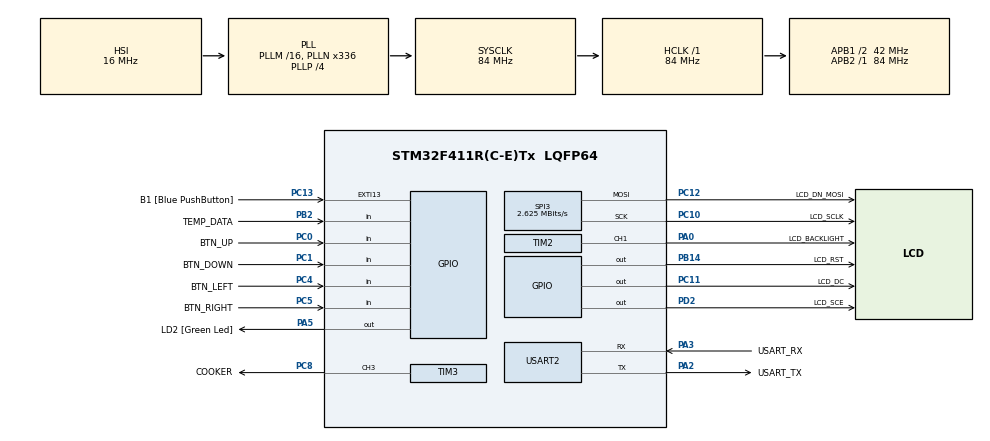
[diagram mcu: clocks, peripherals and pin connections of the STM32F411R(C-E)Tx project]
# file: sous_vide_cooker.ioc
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Mcu.Family=STM32F4
Mcu.Name=STM32F411R(C-E)Tx
Mcu.Package=LQFP64
NVIC.EXTI15_10_IRQn=true\:0\:0\:false\:false\:true\:true\:true
NVIC.PriorityGroup=NVIC_PRIORITYGROUP_0
NVIC.TIM1_TRG_COM_TIM11_IRQn=true\:0\:0\:false\:false\:true\:true\:true
PA0-WKUP.GPIO_Label=LCD_BACKLIGHT
PA0-WKUP.Signal=S_TIM2_CH1_ETR
PA13.GPIO_Label=TMS
PA13.Mode=Serial_Wire
PA13.Signal=SYS_JTMS-SWDIO
PA14.GPIO_Label=TCK
PA14.Mode=Serial_Wire
PA14.Signal=SYS_JTCK-SWCLK
PA2.GPIO_Label=USART_TX
PA2.Mode=Asynchronous
PA2.Signal=USART2_TX
PA3.GPIO_Label=USART_RX
PA3.Mode=Asynchronous
PA3.Signal=USART2_RX
PA5.GPIO_Label=LD2 [Green Led]
PA5.Signal=GPIO_Output
PB14.GPIO_Label=LCD_RST
PB14.Signal=GPIO_Output
PB2.GPIO_Label=TEMP_DATA
PB2.Signal=GPIO_Input
PB3.GPIO_Label=SWO
PB3.Signal=SYS_JTDO-SWO
PC0.GPIO_Label=BTN_UP
PC0.GPIO_PuPd=GPIO_PULLUP
PC0.Signal=GPIO_Input
PC1.GPIO_Label=BTN_DOWN
PC1.GPIO_PuPd=GPIO_PULLUP
PC1.Signal=GPIO_Input
PC10.GPIO_Label=LCD_SCLK
PC10.Mode=TX_Only_Simplex_Unidirect_Master
PC10.Signal=SPI3_SCK
PC11.GPIO_Label=LCD_DC
PC11.Signal=GPIO_Output
PC12.GPIO_Label=LCD_DN_MOSI
PC12.Mode=TX_Only_Simplex_Unidirect_Master
PC12.Signal=SPI3_MOSI
PC13-ANTI_TAMP.GPIO_Label=B1 [Blue PushButton]
PC13-ANTI_TAMP.GPIO_ModeDefaultEXTI=GPIO_MODE_IT_FALLING
PC13-ANTI_TAMP.Signal=GPXTI13
PC14-OSC32_IN.Mode=LSE-External-Oscillator
PC14-OSC32_IN.Signal=RCC_OSC32_IN
PC15-OSC32_OUT.Mode=LSE-External-Oscillator
PC15-OSC32_OUT.Signal=RCC_OSC32_OUT
PC4.GPIO_Label=BTN_LEFT
PC4.GPIO_PuPd=GPIO_PULLUP
PC4.Signal=GPIO_Input
PC5.GPIO_Label=BTN_RIGHT
PC5.GPIO_PuPd=GPIO_PULLUP
PC5.Signal=GPIO_Input
PC8.GPIO_Label=COOKER
PC8.Signal=S_TIM3_CH3
PD2.GPIO_Label=LCD_SCE
PD2.Signal=GPIO_Output
PH0\ -\ OSC_IN.Mode=HSE-External-Clock-Source
PH0\ -\ OSC_IN.Signal=RCC_OSC_IN
PH1\ -\ OSC_OUT.Mode=HSE-External-Clock-Source
PH1\ -\ OSC_OUT.Signal=RCC_OSC_OUT
ProjectManager.HeapSize=0x200
ProjectManager.StackSize=0x400
ProjectManager.TargetToolchain=STM32CubeIDE
RCC.48MHZClocksFreq_Value=84000000
RCC.AHBFreq_Value=84000000
RCC.APB1CLKDivider=RCC_HCLK_DIV2
RCC.APB1Freq_Value=42000000
RCC.APB1TimFreq_Value=84000000
RCC.APB2Freq_Value=84000000
RCC.APB2TimFreq_Value=84000000
RCC.CortexFreq_Value=84000000
RCC.FLatency-AdvancedSettings=FLASH_LATENCY_2
RCC.HCLKFreq_Value=84000000
RCC.HSE_VALUE=8000000
RCC.HSI_VALUE=16000000
RCC.PLLN=336
RCC.PLLP=RCC_PLLP_DIV4
RCC.SYSCLKFreq_VALUE=84000000
RCC.SYSCLKSource=RCC_SYSCLKSOURCE_PLLCLK
RCC.VCOOutputFreq_Value=336000000
SH.S_TIM2_CH1_ETR.0=TIM2_CH1,PWM Generation1 CH1
SH.S_TIM3_CH3.0=TIM3_CH3,PWM Generation3 CH3
SPI3.BaudRatePrescaler=SPI_BAUDRATEPRESCALER_16
SPI3.CalculateBaudRate=2.625 MBits/s
SPI3.Direction=SPI_DIRECTION_2LINES
SPI3.Mode=SPI_MODE_MASTER
SPI3.VirtualType=VM_MASTER
TIM10.Period=0xffff-1
TIM10.Prescaler=84 -1
TIM11.AutoReloadPreload=TIM_AUTORELOAD_PRELOAD_ENABLE
TIM11.Period=2-1
TIM11.Prescaler=42000-1
TIM2.AutoReloadPreload=TIM_AUTORELOAD_PRELOAD_ENABLE
TIM2.Channel-PWM\ Generation1\ CH1=TIM_CHANNEL_1
TIM2.OCPolarity_1=TIM_OCPOLARITY_LOW
TIM2.Period=1000 -1
TIM2.Prescaler=42000 - 1
TIM2.Pulse-PWM\ Generation1\ CH1=1000 - 1
TIM3.AutoReloadPreload=TIM_AUTORELOAD_PRELOAD_ENABLE
TIM3.Channel-PWM\ Generation3\ CH3=TIM_CHANNEL_3
TIM3.OCPolarity_3=TIM_OCPOLARITY_HIGH
TIM3.Period=10000 - 1
TIM3.Prescaler=42000-1
TIM3.Pulse-PWM\ Generation3\ CH3=2500 - 1
USART2.VirtualMode=VM_ASYNC
VP_TIM10_VS_ClockSourceINT.Mode=Enable_Timer
VP_TIM11_VS_ClockSourceINT.Mode=Enable_Timer
VP_TIM3_VS_ClockSourceINT.Mode=Internal
board=NUCLEO-F411RE

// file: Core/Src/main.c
/* USER CODE BEGIN Header */
/**
  ******************************************************************************
  * @file           : main.c
  * @brief          : Main program body
  ******************************************************************************
  * @attention
  *
  * Copyright (c) 2022 STMicroelectronics.
  * All rights reserved.
  *
  * This software is licensed under terms that can be found in the LICENSE file
  * in the root directory of this software component.
  * If no LICENSE file comes with this software, it is provided AS-IS.
  *
  ******************************************************************************
  */
/* USER CODE END Header */
#include "main.h"

/* USER CODE BEGIN Includes */
#include "appmain.h"
#include <stdio.h>
#include <stdbool.h>
/* USER CODE END Includes */

SPI_HandleTypeDef hspi3;

TIM_HandleTypeDef htim2;
TIM_HandleTypeDef htim3;
TIM_HandleTypeDef htim10;
TIM_HandleTypeDef htim11;

UART_HandleTypeDef huart2;

void SystemClock_Config(void);
static void MX_GPIO_Init(void);
static void MX_USART2_UART_Init(void);
static void MX_TIM3_Init(void);
static void MX_SPI3_Init(void);
static void MX_TIM10_Init(void);
static void MX_TIM11_Init(void);
static void MX_TIM2_Init(void);
/* USER CODE BEGIN PFP */

void ReInit_PWM_CookerPin()
{
#define COMPLETE_INIT 0

#if COMPLETE_INIT
	MX_TIM3_Init();

#else
	  TIM_MasterConfigTypeDef sMasterConfig = {0};
	  TIM_OC_InitTypeDef sConfigOC = {0};

	  if (HAL_TIM_PWM_Init(&htim3) != HAL_OK)
	  {
	    Error_Handler();
	  }

	  sMasterConfig.MasterOutputTrigger = TIM_TRGO_RESET;
	  sMasterConfig.MasterSlaveMode = TIM_MASTERSLAVEMODE_DISABLE;
	  if (HAL_TIMEx_MasterConfigSynchronization(&htim3, &sMasterConfig) != HAL_OK)
	  {
	    Error_Handler();
	  }

	  sConfigOC.OCMode = TIM_OCMODE_PWM1;
	  sConfigOC.Pulse = 200 - 1;
	  sConfigOC.OCPolarity = TIM_OCPOLARITY_HIGH;
	  sConfigOC.OCFastMode = TIM_OCFAST_DISABLE;
	  if (HAL_TIM_PWM_ConfigChannel(&htim3, &sConfigOC, TIM_CHANNEL_3) != HAL_OK)
	  {
	    Error_Handler();
	  }

	  HAL_TIM_MspPostInit(&htim3);
#endif
}

/* USER CODE END PFP */

/* USER CODE BEGIN 0 */

const bool serial_console = true;

int _write(int file, char *ptr, int len)
{
	if (serial_console)
		HAL_UART_Transmit(&huart2, (uint8_t*)ptr, len, HAL_MAX_DELAY);
	return len;
}

// TODO
//int _read(int file, char *ptr, int len)

/* USER CODE END 0 */

int main(void)
{

  /* MCU Configuration--------------------------------------------------------*/

  /* Reset of all peripherals, Initializes the Flash interface and the Systick. */
  HAL_Init();

  /* Configure the system clock */
  SystemClock_Config();

  /* Initialize all configured peripherals */
  MX_GPIO_Init();
  MX_USART2_UART_Init();
  MX_TIM3_Init();
  MX_SPI3_Init();
  MX_TIM10_Init();
  MX_TIM11_Init();
  MX_TIM2_Init();
  /* USER CODE BEGIN 2 */
  appmain();
  /* USER CODE END 2 */

  /* Infinite loop */
  while (1)
  {

  }
}

void SystemClock_Config(void)
{
  RCC_OscInitTypeDef RCC_OscInitStruct = {0};
  RCC_ClkInitTypeDef RCC_ClkInitStruct = {0};

  /** Configure the main internal regulator output voltage
  */
  __HAL_RCC_PWR_CLK_ENABLE();
  __HAL_PWR_VOLTAGESCALING_CONFIG(PWR_REGULATOR_VOLTAGE_SCALE1);
  /** Initializes the RCC Oscillators according to the specified parameters
  * in the RCC_OscInitTypeDef structure.
  */
  RCC_OscInitStruct.OscillatorType = RCC_OSCILLATORTYPE_HSI;
  RCC_OscInitStruct.HSIState = RCC_HSI_ON;
  RCC_OscInitStruct.HSICalibrationValue = RCC_HSICALIBRATION_DEFAULT;
  RCC_OscInitStruct.PLL.PLLState = RCC_PLL_ON;
  RCC_OscInitStruct.PLL.PLLSource = RCC_PLLSOURCE_HSI;
  RCC_OscInitStruct.PLL.PLLM = 16;
  RCC_OscInitStruct.PLL.PLLN = 336;
  RCC_OscInitStruct.PLL.PLLP = RCC_PLLP_DIV4;
  RCC_OscInitStruct.PLL.PLLQ = 4;
  if (HAL_RCC_OscConfig(&RCC_OscInitStruct) != HAL_OK)
  {
    Error_Handler();
  }
  /** Initializes the CPU, AHB and APB buses clocks
  */
  RCC_ClkInitStruct.ClockType = RCC_CLOCKTYPE_HCLK|RCC_CLOCKTYPE_SYSCLK
                              |RCC_CLOCKTYPE_PCLK1|RCC_CLOCKTYPE_PCLK2;
  RCC_ClkInitStruct.SYSCLKSource = RCC_SYSCLKSOURCE_PLLCLK;
  RCC_ClkInitStruct.AHBCLKDivider = RCC_SYSCLK_DIV1;
  RCC_ClkInitStruct.APB1CLKDivider = RCC_HCLK_DIV2;
  RCC_ClkInitStruct.APB2CLKDivider = RCC_HCLK_DIV1;

  if (HAL_RCC_ClockConfig(&RCC_ClkInitStruct, FLASH_LATENCY_2) != HAL_OK)
  {
    Error_Handler();
  }
}

static void MX_SPI3_Init(void)
{

  /* SPI3 parameter configuration*/
  hspi3.Instance = SPI3;
  hspi3.Init.Mode = SPI_MODE_MASTER;
  hspi3.Init.Direction = SPI_DIRECTION_2LINES;
  hspi3.Init.DataSize = SPI_DATASIZE_8BIT;
  hspi3.Init.CLKPolarity = SPI_POLARITY_LOW;
  hspi3.Init.CLKPhase = SPI_PHASE_1EDGE;
  hspi3.Init.NSS = SPI_NSS_SOFT;
  hspi3.Init.BaudRatePrescaler = SPI_BAUDRATEPRESCALER_16;
  hspi3.Init.FirstBit = SPI_FIRSTBIT_MSB;
  hspi3.Init.TIMode = SPI_TIMODE_DISABLE;
  hspi3.Init.CRCCalculation = SPI_CRCCALCULATION_DISABLE;
  hspi3.Init.CRCPolynomial = 10;
  if (HAL_SPI_Init(&hspi3) != HAL_OK)
  {
    Error_Handler();
  }

}

static void MX_TIM2_Init(void)
{

  TIM_MasterConfigTypeDef sMasterConfig = {0};
  TIM_OC_InitTypeDef sConfigOC = {0};

  htim2.Instance = TIM2;
  htim2.Init.Prescaler = 42000 - 1;
  htim2.Init.CounterMode = TIM_COUNTERMODE_UP;
  htim2.Init.Period = 1000 -1;
  htim2.Init.ClockDivision = TIM_CLOCKDIVISION_DIV1;
  htim2.Init.AutoReloadPreload = TIM_AUTORELOAD_PRELOAD_ENABLE;
  if (HAL_TIM_PWM_Init(&htim2) != HAL_OK)
  {
    Error_Handler();
  }
  sMasterConfig.MasterOutputTrigger = TIM_TRGO_RESET;
  sMasterConfig.MasterSlaveMode = TIM_MASTERSLAVEMODE_DISABLE;
  if (HAL_TIMEx_MasterConfigSynchronization(&htim2, &sMasterConfig) != HAL_OK)
  {
    Error_Handler();
  }
  sConfigOC.OCMode = TIM_OCMODE_PWM1;
  sConfigOC.Pulse = 1000 - 1;
  sConfigOC.OCPolarity = TIM_OCPOLARITY_LOW;
  sConfigOC.OCFastMode = TIM_OCFAST_DISABLE;
  if (HAL_TIM_PWM_ConfigChannel(&htim2, &sConfigOC, TIM_CHANNEL_1) != HAL_OK)
  {
    Error_Handler();
  }
  HAL_TIM_MspPostInit(&htim2);

}

static void MX_TIM3_Init(void)
{

  TIM_ClockConfigTypeDef sClockSourceConfig = {0};
  TIM_MasterConfigTypeDef sMasterConfig = {0};
  TIM_OC_InitTypeDef sConfigOC = {0};

  htim3.Instance = TIM3;
  htim3.Init.Prescaler = 42000-1;
  htim3.Init.CounterMode = TIM_COUNTERMODE_UP;
  htim3.Init.Period = 10000 - 1;
  htim3.Init.ClockDivision = TIM_CLOCKDIVISION_DIV1;
  htim3.Init.AutoReloadPreload = TIM_AUTORELOAD_PRELOAD_ENABLE;
  if (HAL_TIM_Base_Init(&htim3) != HAL_OK)
  {
    Error_Handler();
  }
  sClockSourceConfig.ClockSource = TIM_CLOCKSOURCE_INTERNAL;
  if (HAL_TIM_ConfigClockSource(&htim3, &sClockSourceConfig) != HAL_OK)
  {
    Error_Handler();
  }
  if (HAL_TIM_PWM_Init(&htim3) != HAL_OK)
  {
    Error_Handler();
  }
  sMasterConfig.MasterOutputTrigger = TIM_TRGO_RESET;
  sMasterConfig.MasterSlaveMode = TIM_MASTERSLAVEMODE_DISABLE;
  if (HAL_TIMEx_MasterConfigSynchronization(&htim3, &sMasterConfig) != HAL_OK)
  {
    Error_Handler();
  }
  sConfigOC.OCMode = TIM_OCMODE_PWM1;
  sConfigOC.Pulse = 2500 - 1;
  sConfigOC.OCPolarity = TIM_OCPOLARITY_HIGH;
  sConfigOC.OCFastMode = TIM_OCFAST_DISABLE;
  if (HAL_TIM_PWM_ConfigChannel(&htim3, &sConfigOC, TIM_CHANNEL_3) != HAL_OK)
  {
    Error_Handler();
  }
  HAL_TIM_MspPostInit(&htim3);

}

static void MX_TIM10_Init(void)
{

  htim10.Instance = TIM10;
  htim10.Init.Prescaler = 84 -1;
  htim10.Init.CounterMode = TIM_COUNTERMODE_UP;
  htim10.Init.Period = 0xffff-1;
  htim10.Init.ClockDivision = TIM_CLOCKDIVISION_DIV1;
  htim10.Init.AutoReloadPreload = TIM_AUTORELOAD_PRELOAD_DISABLE;
  if (HAL_TIM_Base_Init(&htim10) != HAL_OK)
  {
    Error_Handler();
  }

}

static void MX_TIM11_Init(void)
{

  htim11.Instance = TIM11;
  htim11.Init.Prescaler = 42000-1;
  htim11.Init.CounterMode = TIM_COUNTERMODE_UP;
  htim11.Init.Period = 2-1;
  htim11.Init.ClockDivision = TIM_CLOCKDIVISION_DIV1;
  htim11.Init.AutoReloadPreload = TIM_AUTORELOAD_PRELOAD_ENABLE;
  if (HAL_TIM_Base_Init(&htim11) != HAL_OK)
  {
    Error_Handler();
  }

}

static void MX_USART2_UART_Init(void)
{

  huart2.Instance = USART2;
  huart2.Init.BaudRate = 115200;
  huart2.Init.WordLength = UART_WORDLENGTH_8B;
  huart2.Init.StopBits = UART_STOPBITS_1;
  huart2.Init.Parity = UART_PARITY_NONE;
  huart2.Init.Mode = UART_MODE_TX_RX;
  huart2.Init.HwFlowCtl = UART_HWCONTROL_NONE;
  huart2.Init.OverSampling = UART_OVERSAMPLING_16;
  if (HAL_UART_Init(&huart2) != HAL_OK)
  {
    Error_Handler();
  }

}

static void MX_GPIO_Init(void)
{
  GPIO_InitTypeDef GPIO_InitStruct = {0};

  /* GPIO Ports Clock Enable */
  __HAL_RCC_GPIOC_CLK_ENABLE();
  __HAL_RCC_GPIOH_CLK_ENABLE();
  __HAL_RCC_GPIOA_CLK_ENABLE();
  __HAL_RCC_GPIOB_CLK_ENABLE();
  __HAL_RCC_GPIOD_CLK_ENABLE();

  /*Configure GPIO pin Output Level */
  HAL_GPIO_WritePin(LD2_GPIO_Port, LD2_Pin, GPIO_PIN_RESET);

  /*Configure GPIO pin Output Level */
  HAL_GPIO_WritePin(LCD_RST_GPIO_Port, LCD_RST_Pin, GPIO_PIN_RESET);

  /*Configure GPIO pin Output Level */
  HAL_GPIO_WritePin(LCD_DC_GPIO_Port, LCD_DC_Pin, GPIO_PIN_RESET);

  /*Configure GPIO pin Output Level */
  HAL_GPIO_WritePin(LCD_SCE_GPIO_Port, LCD_SCE_Pin, GPIO_PIN_RESET);

  /*Configure GPIO pin : B1_Pin */
  GPIO_InitStruct.Pin = B1_Pin;
  GPIO_InitStruct.Mode = GPIO_MODE_IT_FALLING;
  GPIO_InitStruct.Pull = GPIO_NOPULL;
  HAL_GPIO_Init(B1_GPIO_Port, &GPIO_InitStruct);

  /*Configure GPIO pins : BTN_UP_Pin BTN_DOWN_Pin BTN_LEFT_Pin BTN_RIGHT_Pin */
  GPIO_InitStruct.Pin = BTN_UP_Pin|BTN_DOWN_Pin|BTN_LEFT_Pin|BTN_RIGHT_Pin;
  GPIO_InitStruct.Mode = GPIO_MODE_INPUT;
  GPIO_InitStruct.Pull = GPIO_PULLUP;
  HAL_GPIO_Init(GPIOC, &GPIO_InitStruct);

  /*Configure GPIO pin : LD2_Pin */
  GPIO_InitStruct.Pin = LD2_Pin;
  GPIO_InitStruct.Mode = GPIO_MODE_OUTPUT_PP;
  GPIO_InitStruct.Pull = GPIO_NOPULL;
  GPIO_InitStruct.Speed = GPIO_SPEED_FREQ_LOW;
  HAL_GPIO_Init(LD2_GPIO_Port, &GPIO_InitStruct);

  /*Configure GPIO pin : TEMP_DATA_Pin */
  GPIO_InitStruct.Pin = TEMP_DATA_Pin;
  GPIO_InitStruct.Mode = GPIO_MODE_INPUT;
  GPIO_InitStruct.Pull = GPIO_NOPULL;
  HAL_GPIO_Init(TEMP_DATA_GPIO_Port, &GPIO_InitStruct);

  /*Configure GPIO pin : LCD_RST_Pin */
  GPIO_InitStruct.Pin = LCD_RST_Pin;
  GPIO_InitStruct.Mode = GPIO_MODE_OUTPUT_PP;
  GPIO_InitStruct.Pull = GPIO_NOPULL;
  GPIO_InitStruct.Speed = GPIO_SPEED_FREQ_LOW;
  HAL_GPIO_Init(LCD_RST_GPIO_Port, &GPIO_InitStruct);

  /*Configure GPIO pin : LCD_DC_Pin */
  GPIO_InitStruct.Pin = LCD_DC_Pin;
  GPIO_InitStruct.Mode = GPIO_MODE_OUTPUT_PP;
  GPIO_InitStruct.Pull = GPIO_NOPULL;
  GPIO_InitStruct.Speed = GPIO_SPEED_FREQ_LOW;
  HAL_GPIO_Init(LCD_DC_GPIO_Port, &GPIO_InitStruct);

  /*Configure GPIO pin : LCD_SCE_Pin */
  GPIO_InitStruct.Pin = LCD_SCE_Pin;
  GPIO_InitStruct.Mode = GPIO_MODE_OUTPUT_PP;
  GPIO_InitStruct.Pull = GPIO_NOPULL;
  GPIO_InitStruct.Speed = GPIO_SPEED_FREQ_LOW;
  HAL_GPIO_Init(LCD_SCE_GPIO_Port, &GPIO_InitStruct);

  /* EXTI interrupt init*/
  HAL_NVIC_SetPriority(EXTI15_10_IRQn, 0, 0);
  HAL_NVIC_EnableIRQ(EXTI15_10_IRQn);

}

void Error_Handler(void)
{
  __disable_irq();
  while (1)
  {
  }
}
